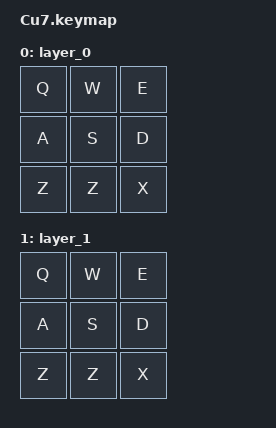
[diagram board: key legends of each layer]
#include <behaviors.dtsi>
#include <dt-bindings/zmk/keys.h>
#include <dt-bindings/zmk/bt.h>

#define layer_0 0
#define layer_1 1
#define layer_2 2

/ {
    behaviors {
        hm: homerow_mods {
            compatible = "zmk,behavior-hold-tap";
            label = "homerow mods";
            #binding-cells = <2>;
            tapping-term-ms = <500>;
            flavor = "tap-preferred";
            bindings = <&kp>, <&kp>;
        };
     combos {
        compatible = "zmk,combos";
        combo_esc {
            timeout-ms = <50>;
            key-positions = <1 7>;
            bindings = <&kp J>;
           };
        };
    };
};


/ {
    keymap {
        compatible = "zmk,keymap";

        layer_0 {
            bindings = <
    &kp Q     &kp W      &kp E       
    &kp A     &kp S      &kp D       
    &kp Z     &kp Z      &kp X       
            >;
        };
        
        layer_1 {
            bindings = <
    &kp Q     &kp W      &kp E       
    &kp A     &kp S      &kp D       
    &kp Z     &kp Z      &kp X   
            >;
         };
    };
};
